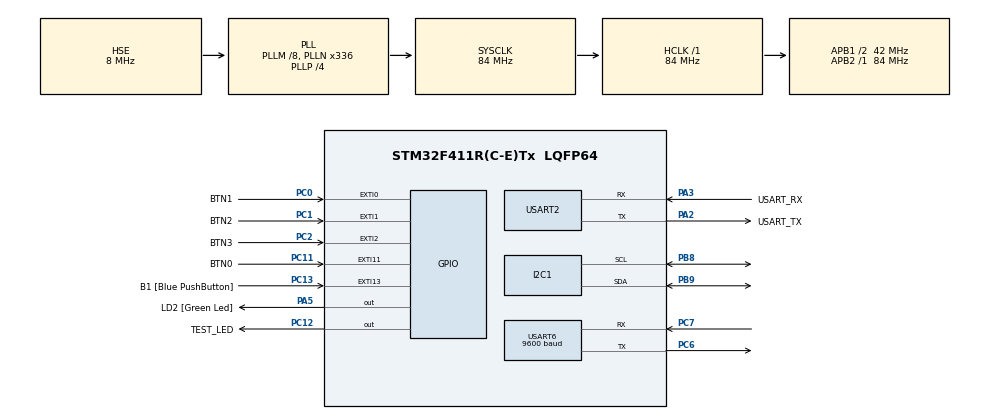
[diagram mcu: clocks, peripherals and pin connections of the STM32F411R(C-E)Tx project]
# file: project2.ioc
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Mcu.Family=STM32F4
Mcu.Name=STM32F411R(C-E)Tx
Mcu.Package=LQFP64
NVIC.EXTI0_IRQn=true\:0\:0\:false\:false\:true\:true\:true\:true
NVIC.EXTI15_10_IRQn=true\:0\:0\:false\:false\:true\:true\:true\:true
NVIC.EXTI1_IRQn=true\:0\:0\:false\:false\:true\:true\:true\:true
NVIC.EXTI2_IRQn=true\:0\:0\:false\:false\:true\:true\:true\:true
NVIC.PriorityGroup=NVIC_PRIORITYGROUP_0
NVIC.TIM3_IRQn=true\:0\:0\:false\:false\:true\:true\:true\:true
NVIC.USART2_IRQn=true\:0\:0\:false\:false\:true\:true\:true\:true
NVIC.USART6_IRQn=true\:0\:0\:false\:false\:true\:true\:true\:true
PA13.GPIO_Label=TMS
PA13.Mode=Serial_Wire
PA13.Signal=SYS_JTMS-SWDIO
PA14.GPIO_Label=TCK
PA14.Mode=Serial_Wire
PA14.Signal=SYS_JTCK-SWCLK
PA2.GPIO_Label=USART_TX
PA2.Mode=Asynchronous
PA2.Signal=USART2_TX
PA3.GPIO_Label=USART_RX
PA3.Mode=Asynchronous
PA3.Signal=USART2_RX
PA5.GPIO_Label=LD2 [Green Led]
PA5.Signal=GPIO_Output
PB3.GPIO_Label=SWO
PB3.Signal=SYS_JTDO-SWO
PB8.Mode=I2C
PB8.Signal=I2C1_SCL
PB9.Mode=I2C
PB9.Signal=I2C1_SDA
PC0.GPIO_Label=BTN1
PC0.Signal=GPXTI0
PC1.GPIO_Label=BTN2
PC1.Signal=GPXTI1
PC11.GPIO_Label=BTN0
PC11.Signal=GPXTI11
PC12.GPIO_Label=TEST_LED
PC12.Signal=GPIO_Output
PC13-ANTI_TAMP.GPIO_Label=B1 [Blue PushButton]
PC13-ANTI_TAMP.GPIO_ModeDefaultEXTI=GPIO_MODE_IT_FALLING
PC13-ANTI_TAMP.Signal=GPXTI13
PC14-OSC32_IN.Mode=LSE-External-Oscillator
PC14-OSC32_IN.Signal=RCC_OSC32_IN
PC15-OSC32_OUT.Mode=LSE-External-Oscillator
PC15-OSC32_OUT.Signal=RCC_OSC32_OUT
PC2.GPIO_Label=BTN3
PC2.Signal=GPXTI2
PC6.Mode=Asynchronous
PC6.Signal=USART6_TX
PC7.Mode=Asynchronous
PC7.Signal=USART6_RX
PH0\ -\ OSC_IN.Mode=HSE-External-Oscillator
PH0\ -\ OSC_IN.Signal=RCC_OSC_IN
PH1\ -\ OSC_OUT.Mode=HSE-External-Oscillator
PH1\ -\ OSC_OUT.Signal=RCC_OSC_OUT
ProjectManager.HeapSize=0x200
ProjectManager.StackSize=0x400
ProjectManager.TargetToolchain=STM32CubeIDE
RCC.48MHZClocksFreq_Value=84000000
RCC.AHBFreq_Value=84000000
RCC.APB1CLKDivider=RCC_HCLK_DIV2
RCC.APB1Freq_Value=42000000
RCC.APB1TimFreq_Value=84000000
RCC.APB2Freq_Value=84000000
RCC.APB2TimFreq_Value=84000000
RCC.CortexFreq_Value=84000000
RCC.FLatency-AdvancedSettings=FLASH_LATENCY_2
RCC.HCLKFreq_Value=84000000
RCC.HSE_VALUE=8000000
RCC.HSI_VALUE=16000000
RCC.PLLM=8
RCC.PLLN=336
RCC.PLLP=RCC_PLLP_DIV4
RCC.PLLSourceVirtual=RCC_PLLSOURCE_HSE
RCC.SYSCLKFreq_VALUE=84000000
RCC.SYSCLKSource=RCC_SYSCLKSOURCE_PLLCLK
RCC.VCOOutputFreq_Value=336000000
TIM3.AutoReloadPreload=TIM_AUTORELOAD_PRELOAD_ENABLE
TIM3.Period=1000-1
TIM3.Prescaler=84-1
USART2.VirtualMode=VM_ASYNC
USART6.BaudRate=9600
USART6.VirtualMode=VM_ASYNC
VP_TIM3_VS_ClockSourceINT.Mode=Internal
board=NUCLEO-F411RE

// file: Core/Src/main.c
/* USER CODE BEGIN Header */
/**
  ******************************************************************************
  * @file           : main.c
  * @brief          : Main program body
  ******************************************************************************
  * @attention
  *
  * Copyright (c) 2024 STMicroelectronics.
  * All rights reserved.
  *
  * This software is licensed under terms that can be found in the LICENSE file
  * in the root directory of this software component.
  * If no LICENSE file comes with this software, it is provided AS-IS.
  *
  ******************************************************************************
  */
/* USER CODE END Header */
#include "main.h"

/* USER CODE BEGIN Includes */
#include <stdio.h>
#include <string.h>
#include <stdlib.h>
/* USER CODE END Includes */

/* USER CODE BEGIN PD */
#ifdef __GNUC__
/* With GCC, small printf (option LD Linker->Libraries->Small printf
   set to 'Yes') calls __io_putchar() */
#define PUTCHAR_PROTOTYPE int __io_putchar(int ch)
#else
#define PUTCHAR_PROTOTYPE int fputc(int ch, FILE *f)
#endif /* __GNUC__ */
#define ARR_CNT 6
#define CMD_SIZE 50
#define DEBOUNCE_TIME 200
/* USER CODE END PD */

I2C_HandleTypeDef hi2c1;

TIM_HandleTypeDef htim3;

UART_HandleTypeDef huart2;
UART_HandleTypeDef huart6;

/* USER CODE BEGIN PV */
uint8_t rx2char;
volatile unsigned char rx2Flag = 0;
volatile char rx2Data[50];
volatile unsigned char btFlag = 0;
uint8_t btchar;
char btData[100];
volatile int buttonState = 0; // 0 -> AUTO, 1 -> ON, 2 -> OFF
uint32_t lastPressTime = 0;
/* USER CODE END PV */

void SystemClock_Config(void);
static void MX_GPIO_Init(void);
static void MX_USART2_UART_Init(void);
static void MX_USART6_UART_Init(void);
static void MX_TIM3_Init(void);
static void MX_I2C1_Init(void);
/* USER CODE BEGIN PFP */
void bluetooth_Event();
/* USER CODE END PFP */

int main(void)
{

  /* MCU Configuration--------------------------------------------------------*/

  /* Reset of all peripherals, Initializes the Flash interface and the Systick. */
  HAL_Init();

  /* Configure the system clock */
  SystemClock_Config();

  /* Initialize all configured peripherals */
  MX_GPIO_Init();
  MX_USART2_UART_Init();
  MX_USART6_UART_Init();
  MX_TIM3_Init();
  MX_I2C1_Init();
  /* USER CODE BEGIN 2 */
  HAL_UART_Receive_IT(&huart2, &rx2char,1);
  HAL_UART_Receive_IT(&huart6, &btchar,1);
  printf("start main - project()\r\n");
  LCD_writeStringXY(0, 0, "Waiting for User");
//  char buf[10] = "Hello\r";
  /* USER CODE END 2 */

  /* Infinite loop */
  /* USER CODE BEGIN WHILE */
  while (1)
  {
	  if(rx2Flag)
	  {
			printf("recv2 : %s\r\n",rx2Data);
			rx2Flag =0;
	//	    HAL_UART_Transmit(&huart6, (uint8_t *)buf, strlen(buf), 0xFFFF);
	  }
	  if(btFlag)
	  {
//		printf("bt : %s\r\n",btData);
			btFlag =0;
			bluetooth_Event();
	  }
//	  HAL_GPIO_TogglePin(GPIOC, GPIO_PIN_13);
//	  HAL_Delay(500);

    /* USER CODE END WHILE */

  }
}

void SystemClock_Config(void)
{
  RCC_OscInitTypeDef RCC_OscInitStruct = {0};
  RCC_ClkInitTypeDef RCC_ClkInitStruct = {0};

  /** Configure the main internal regulator output voltage
  */
  __HAL_RCC_PWR_CLK_ENABLE();
  __HAL_PWR_VOLTAGESCALING_CONFIG(PWR_REGULATOR_VOLTAGE_SCALE1);

  /** Initializes the RCC Oscillators according to the specified parameters
  * in the RCC_OscInitTypeDef structure.
  */
  RCC_OscInitStruct.OscillatorType = RCC_OSCILLATORTYPE_HSE;
  RCC_OscInitStruct.HSEState = RCC_HSE_ON;
  RCC_OscInitStruct.PLL.PLLState = RCC_PLL_ON;
  RCC_OscInitStruct.PLL.PLLSource = RCC_PLLSOURCE_HSE;
  RCC_OscInitStruct.PLL.PLLM = 8;
  RCC_OscInitStruct.PLL.PLLN = 336;
  RCC_OscInitStruct.PLL.PLLP = RCC_PLLP_DIV4;
  RCC_OscInitStruct.PLL.PLLQ = 4;
  if (HAL_RCC_OscConfig(&RCC_OscInitStruct) != HAL_OK)
  {
    Error_Handler();
  }

  /** Initializes the CPU, AHB and APB buses clocks
  */
  RCC_ClkInitStruct.ClockType = RCC_CLOCKTYPE_HCLK|RCC_CLOCKTYPE_SYSCLK
                              |RCC_CLOCKTYPE_PCLK1|RCC_CLOCKTYPE_PCLK2;
  RCC_ClkInitStruct.SYSCLKSource = RCC_SYSCLKSOURCE_PLLCLK;
  RCC_ClkInitStruct.AHBCLKDivider = RCC_SYSCLK_DIV1;
  RCC_ClkInitStruct.APB1CLKDivider = RCC_HCLK_DIV2;
  RCC_ClkInitStruct.APB2CLKDivider = RCC_HCLK_DIV1;

  if (HAL_RCC_ClockConfig(&RCC_ClkInitStruct, FLASH_LATENCY_2) != HAL_OK)
  {
    Error_Handler();
  }
}

static void MX_I2C1_Init(void)
{

  hi2c1.Instance = I2C1;
  hi2c1.Init.ClockSpeed = 100000;
  hi2c1.Init.DutyCycle = I2C_DUTYCYCLE_2;
  hi2c1.Init.OwnAddress1 = 0;
  hi2c1.Init.AddressingMode = I2C_ADDRESSINGMODE_7BIT;
  hi2c1.Init.DualAddressMode = I2C_DUALADDRESS_DISABLE;
  hi2c1.Init.OwnAddress2 = 0;
  hi2c1.Init.GeneralCallMode = I2C_GENERALCALL_DISABLE;
  hi2c1.Init.NoStretchMode = I2C_NOSTRETCH_DISABLE;
  if (HAL_I2C_Init(&hi2c1) != HAL_OK)
  {
    Error_Handler();
  }

}

static void MX_TIM3_Init(void)
{

  TIM_ClockConfigTypeDef sClockSourceConfig = {0};
  TIM_MasterConfigTypeDef sMasterConfig = {0};

  htim3.Instance = TIM3;
  htim3.Init.Prescaler = 84-1;
  htim3.Init.CounterMode = TIM_COUNTERMODE_UP;
  htim3.Init.Period = 1000-1;
  htim3.Init.ClockDivision = TIM_CLOCKDIVISION_DIV1;
  htim3.Init.AutoReloadPreload = TIM_AUTORELOAD_PRELOAD_ENABLE;
  if (HAL_TIM_Base_Init(&htim3) != HAL_OK)
  {
    Error_Handler();
  }
  sClockSourceConfig.ClockSource = TIM_CLOCKSOURCE_INTERNAL;
  if (HAL_TIM_ConfigClockSource(&htim3, &sClockSourceConfig) != HAL_OK)
  {
    Error_Handler();
  }
  sMasterConfig.MasterOutputTrigger = TIM_TRGO_RESET;
  sMasterConfig.MasterSlaveMode = TIM_MASTERSLAVEMODE_DISABLE;
  if (HAL_TIMEx_MasterConfigSynchronization(&htim3, &sMasterConfig) != HAL_OK)
  {
    Error_Handler();
  }

}

static void MX_USART2_UART_Init(void)
{

  huart2.Instance = USART2;
  huart2.Init.BaudRate = 115200;
  huart2.Init.WordLength = UART_WORDLENGTH_8B;
  huart2.Init.StopBits = UART_STOPBITS_1;
  huart2.Init.Parity = UART_PARITY_NONE;
  huart2.Init.Mode = UART_MODE_TX_RX;
  huart2.Init.HwFlowCtl = UART_HWCONTROL_NONE;
  huart2.Init.OverSampling = UART_OVERSAMPLING_16;
  if (HAL_UART_Init(&huart2) != HAL_OK)
  {
    Error_Handler();
  }

}

static void MX_USART6_UART_Init(void)
{

  huart6.Instance = USART6;
  huart6.Init.BaudRate = 9600;
  huart6.Init.WordLength = UART_WORDLENGTH_8B;
  huart6.Init.StopBits = UART_STOPBITS_1;
  huart6.Init.Parity = UART_PARITY_NONE;
  huart6.Init.Mode = UART_MODE_TX_RX;
  huart6.Init.HwFlowCtl = UART_HWCONTROL_NONE;
  huart6.Init.OverSampling = UART_OVERSAMPLING_16;
  if (HAL_UART_Init(&huart6) != HAL_OK)
  {
    Error_Handler();
  }

}

static void MX_GPIO_Init(void)
{
  GPIO_InitTypeDef GPIO_InitStruct = {0};

  /* GPIO Ports Clock Enable */
  __HAL_RCC_GPIOC_CLK_ENABLE();
  __HAL_RCC_GPIOH_CLK_ENABLE();
  __HAL_RCC_GPIOA_CLK_ENABLE();
  __HAL_RCC_GPIOB_CLK_ENABLE();

  /*Configure GPIO pin Output Level */
  HAL_GPIO_WritePin(LD2_GPIO_Port, LD2_Pin, GPIO_PIN_RESET);

  /*Configure GPIO pin Output Level */
  HAL_GPIO_WritePin(TEST_LED_GPIO_Port, TEST_LED_Pin, GPIO_PIN_RESET);

  /*Configure GPIO pin : B1_Pin */
  GPIO_InitStruct.Pin = B1_Pin;
  GPIO_InitStruct.Mode = GPIO_MODE_IT_FALLING;
  GPIO_InitStruct.Pull = GPIO_NOPULL;
  HAL_GPIO_Init(B1_GPIO_Port, &GPIO_InitStruct);

  /*Configure GPIO pins : BTN1_Pin BTN2_Pin BTN3_Pin BTN0_Pin */
  GPIO_InitStruct.Pin = BTN1_Pin|BTN2_Pin|BTN3_Pin|BTN0_Pin;
  GPIO_InitStruct.Mode = GPIO_MODE_IT_RISING;
  GPIO_InitStruct.Pull = GPIO_NOPULL;
  HAL_GPIO_Init(GPIOC, &GPIO_InitStruct);

  /*Configure GPIO pin : LD2_Pin */
  GPIO_InitStruct.Pin = LD2_Pin;
  GPIO_InitStruct.Mode = GPIO_MODE_OUTPUT_PP;
  GPIO_InitStruct.Pull = GPIO_NOPULL;
  GPIO_InitStruct.Speed = GPIO_SPEED_FREQ_LOW;
  HAL_GPIO_Init(LD2_GPIO_Port, &GPIO_InitStruct);

  /*Configure GPIO pin : TEST_LED_Pin */
  GPIO_InitStruct.Pin = TEST_LED_Pin;
  GPIO_InitStruct.Mode = GPIO_MODE_OUTPUT_PP;
  GPIO_InitStruct.Pull = GPIO_NOPULL;
  GPIO_InitStruct.Speed = GPIO_SPEED_FREQ_LOW;
  HAL_GPIO_Init(TEST_LED_GPIO_Port, &GPIO_InitStruct);

  /* EXTI interrupt init*/
  HAL_NVIC_SetPriority(EXTI0_IRQn, 0, 0);
  HAL_NVIC_EnableIRQ(EXTI0_IRQn);

  HAL_NVIC_SetPriority(EXTI1_IRQn, 0, 0);
  HAL_NVIC_EnableIRQ(EXTI1_IRQn);

  HAL_NVIC_SetPriority(EXTI2_IRQn, 0, 0);
  HAL_NVIC_EnableIRQ(EXTI2_IRQn);

  HAL_NVIC_SetPriority(EXTI15_10_IRQn, 0, 0);
  HAL_NVIC_EnableIRQ(EXTI15_10_IRQn);

}

/* USER CODE BEGIN 4 */
void MX_GPIO_LED_ON(int pin)
{
	HAL_GPIO_WritePin(LD2_GPIO_Port, pin, GPIO_PIN_SET);
}
void MX_GPIO_LED_OFF(int pin)
{
	HAL_GPIO_WritePin(LD2_GPIO_Port, pin, GPIO_PIN_RESET);
}
void bluetooth_Event()
{

  int i=0;
  char * pToken;
  char * pArray[ARR_CNT]={0};
  char recvBuf[CMD_SIZE]={0};
  char sendBuf[CMD_SIZE]={0};
  strcpy(recvBuf,btData);

  printf("btData : %s\r\n",btData);

  pToken = strtok(recvBuf,"[@]");
  while(pToken != NULL)
  {
    pArray[i] =  pToken;
    if(++i >= ARR_CNT)
      break;
    pToken = strtok(NULL,"[@]");
  }
//  printf("pArray[0] : %s\r\n",pArray[0]);
//  printf("pArray[1] : %s\r\n",pArray[1]);
//  printf("pArray[2] : %s\r\n",pArray[2]);

  if(!strcmp(pArray[1],"LED"))
  {
		if(!strcmp(pArray[2],"ON"))
		{
			MX_GPIO_LED_ON(LD2_Pin);
			HAL_GPIO_WritePin(TEST_LED_GPIO_Port, TEST_LED_Pin, GPIO_PIN_SET);
		}
		else if(!strcmp(pArray[2],"OFF"))
		{
			MX_GPIO_LED_OFF(LD2_Pin);
			HAL_GPIO_WritePin(TEST_LED_GPIO_Port, TEST_LED_Pin, GPIO_PIN_RESET);
		}
  }
  if (!strcmp(pArray[2], "SENSOR"))
  {
    // �?? 번째 ?��?�� user3 ?��름을 ?��?��
	LCD_writeStringXY(0, 0, " ");
    LCD_writeStringXY(0, 1, pArray[1]);
    if(buttonState == 0)
    {
    	LCD_writeStringXY(0, 6, " :   AUTO ");
    }
    else if(buttonState == 1)
    {
    	LCD_writeStringXY(0, 6, " :   ON   ");
    }
    else if(buttonState == 2)
    {
    	LCD_writeStringXY(0, 6, " :   OFF   ");
    }

    // pArray[3] 값이 게이�??�?? 채우?��?�� ?��?��?��
    int gauge_value = atoi(pArray[3]);  // pArray[3]
    int humi_value = atoi(pArray[5]);
    if (gauge_value < 0) gauge_value = 0;
    if (gauge_value > 100) gauge_value = 100;
    if (humi_value < 0) gauge_value = 0;
    if (humi_value > 100) gauge_value = 100;
    printf("humi_value : %d", humi_value);
    int gauge_length = (gauge_value * 8) / 100;  // 0~100 범위
    int humi_length = (humi_value * 8) / 100;  // 0~100 범위

    int sum_length = gauge_length + humi_length;

    char blank[16] = "                ";
    LCD_writeStringXY(1, 0, blank);

    char gauge[16] = {0};
    for (int j = 0; j < sum_length; j++) {
      gauge[j] = '=';  //
    }
    LCD_writeStringXY(1, 0, gauge);
  }

  else if(!strncmp(pArray[1]," New conn",sizeof(" New conn")))
  {
      return;
  }
  else if(!strncmp(pArray[1]," Already log",sizeof(" Already log")))
  {
      return;
  }
  else
      return;

//  sprintf(sendBuf,"[%s]%s@%s%s\n",pArray[0],pArray[1],pArray[2]);
//  sprintf(sendBuf,"[KSH_AND]Update Done....\n");
  HAL_UART_Transmit(&huart6, (uint8_t *)sendBuf, strlen(sendBuf), 0xFFFF);

}
/**
  * @brief  Retargets the C library printf function to the USART.
  * @param  None
  * @retval None
  */
PUTCHAR_PROTOTYPE
{
  /* Place your implementation of fputc here */
  /* e.g. write a character to the USART6 and Loop until the end of transmission */
  HAL_UART_Transmit(&huart2, (uint8_t *)&ch, 1, 0xFFFF);

  return ch;
}
void HAL_GPIO_EXTI_Callback(uint16_t GPIO_Pin)
{
	if (GPIO_Pin == BTN0_Pin) {  // 버튼 ?���? ?��?��
	        uint32_t currentTime = HAL_GetTick();  // ?��?�� ?���? (�?리초 ?��?��)

	        // ?��바운?�� 처리: 마�?�? ?���? ?��간과 ?��?�� ?���? 차이�? DEBOUNCE_TIME ?��?��?�� 경우?���? 처리
	        if (currentTime - lastPressTime > DEBOUNCE_TIME) {
	            buttonState = (buttonState + 1) % 3; // 버튼?�� ?���? ?��마다 ?��?�� ?��?�� (0 -> 1 -> 2 -> 0)

	            // ?��?��?�� 맞는 메시�? ?��?��
	            char sendBuf[50];
	            if (buttonState == 0) {
	                sprintf(sendBuf, "[KSH_ARD]MOTOR@AUTO\r\n");
	            } else if (buttonState == 1) {
	                sprintf(sendBuf, "[KSH_ARD]MOTOR@ON\r\n");
	            } else if (buttonState == 2) {
	                sprintf(sendBuf, "[KSH_ARD]MOTOR@OFF\r\n");
	            }

	            HAL_UART_Transmit(&huart6, (uint8_t *)sendBuf, strlen(sendBuf), 0xFFFF); // Bluetooth�? 메시�? ?��?��

	            lastPressTime = currentTime;  // 마�?�? ?���? ?���? 갱신
	        }
	    }
}
void HAL_UART_RxCpltCallback(UART_HandleTypeDef *huart)
{
    if(huart->Instance == USART2)
    {
    	static int i=0;
    	rx2Data[i] = rx2char;
    	if((rx2Data[i] == '\r')||(btData[i] == '\n'))
    	{
    		rx2Data[i] = '\0';
    		rx2Flag = 1;
    		i = 0;
    	}
    	else
    	{
    		i++;
    	}
    	HAL_UART_Receive_IT(&huart2, &rx2char,1);
    }
    if(huart->Instance == USART6)
    {
    	static int i=0;
    	btData[i] = btchar;
    	if((btData[i] == '\n') || btData[i] == '\r')
    	{
    		btData[i] = '\0';
    		btFlag = 1;
    		i = 0;
    	}
    	else
    	{
    		i++;
    	}
    	HAL_UART_Receive_IT(&huart6, &btchar,1);
    }
}
/* USER CODE END 4 */

void Error_Handler(void)
{
  __disable_irq();
  while (1)
  {
  }
}
